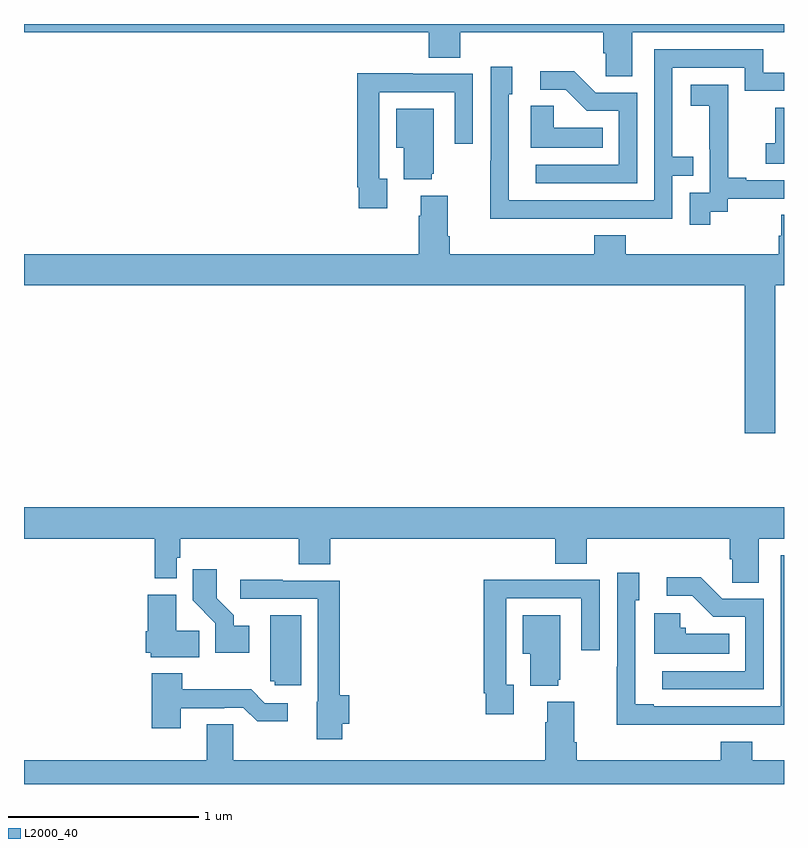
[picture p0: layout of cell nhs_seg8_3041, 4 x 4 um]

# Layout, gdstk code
import gdstk
lib = gdstk.Library(unit=1e-6, precision=1e-09)
def P(c, l, *ps):  # polygons
    for p in ps: c.add(gdstk.Polygon(p, *l))
L2000_40 = (2000, 40)

nhs_seg8_3041 = lib.new_cell('nhs_seg8_3041')
P(nhs_seg8_3041, L2000_40, [(304.201,1093.856),(305,1093.856),(305,1093.9),(301,1093.9),(301,1093.856),(303.131,1093.856),(303.131,1093.723),(303.296,1093.723),(303.296,1093.856),(304.049,1093.856),(304.049,1093.747),(304.062,1093.747),(304.062,1093.624),(304.201,1093.624)],
  [(303.917,1092.876),(304.413,1092.876),(304.413,1093.101),(304.523,1093.101),(304.523,1093.202),(304.413,1093.202),(304.413,1093.671),(304.794,1093.671),(304.794,1093.548),(305,1093.548),(305,1093.644),(304.891,1093.644),(304.891,1093.767),(304.317,1093.767),(304.317,1092.972),(303.552,1092.972),(303.552,1093.53),(303.571,1093.53),(303.571,1093.675),(303.456,1093.675),(303.456,1093.181),(303.454,1093.181),(303.454,1092.875),(303.917,1092.875)],
  [(304.227,1093.539),(304.008,1093.539),(303.895,1093.652),(303.717,1093.652),(303.717,1093.554),(303.851,1093.554),(303.962,1093.443),(304.131,1093.443),(304.131,1093.158),(303.693,1093.158),(303.693,1093.062),(304.227,1093.062)],
  [(302.911,1093.086),(302.871,1093.086),(302.871,1093.542),(303.267,1093.542),(303.267,1093.269),(303.363,1093.269),(303.363,1093.638),(303.047,1093.638),(303.047,1093.64),(302.755,1093.64),(302.755,1093.042),(302.763,1093.042),(302.763,1092.93),(302.911,1092.93)],
  [(304.612,1092.913),(304.704,1092.913),(304.704,1092.981),(305,1092.981),(305,1093.077),(304.801,1093.077),(304.801,1093.09),(304.706,1093.09),(304.706,1093.373),(304.707,1093.373),(304.707,1093.579),(304.509,1093.579),(304.509,1093.469),(304.607,1093.469),(304.607,1093.241),(304.608,1093.241),(304.608,1093.011),(304.503,1093.011),(304.503,1092.843),(304.612,1092.843)],
  [(304.046,1093.354),(303.789,1093.354),(303.789,1093.469),(303.668,1093.469),(303.668,1093.25),(304.046,1093.25)],
  [(305,1093.458),(304.954,1093.458),(304.954,1093.273),(304.905,1093.273),(304.905,1093.164),(305,1093.164)],
  [(303.146,1093.113),(303.157,1093.113),(303.157,1093.453),(302.96,1093.453),(302.96,1093.25),(302.999,1093.25),(302.999,1093.082),(303.146,1093.082)],
  [(304.953,1092.524),(305,1092.524),(305,1092.896),(304.985,1092.896),(304.985,1092.786),(304.973,1092.786),(304.973,1092.688),(304.166,1092.688),(304.166,1092.787),(304.001,1092.787),(304.001,1092.688),(303.242,1092.688),(303.242,1092.784),(303.229,1092.784),(303.229,1092.997),(303.089,1092.997),(303.089,1092.89),(303.077,1092.89),(303.077,1092.688),(301,1092.688),(301,1092.524),(304.793,1092.524),(304.793,1091.745),(304.953,1091.745)],
  [(304.867,1091.192),(305,1091.192),(305,1091.356),(301,1091.356),(301,1091.192),(301.687,1091.192),(301.687,1090.982),(301.803,1090.982),(301.803,1091.091),(301.823,1091.091),(301.823,1091.192),(302.447,1091.192),(302.447,1091.056),(302.612,1091.056),(302.612,1091.192),(303.797,1091.192),(303.797,1091.059),(303.962,1091.059),(303.962,1091.192),(304.715,1091.192),(304.715,1091.083),(304.728,1091.083),(304.728,1090.96),(304.867,1090.96)],
  [(304.583,1090.212),(305,1090.212),(305,1091.103),(304.983,1091.103),(304.983,1090.308),(304.315,1090.308),(304.315,1090.321),(304.218,1090.321),(304.218,1090.866),(304.237,1090.866),(304.237,1091.011),(304.122,1091.011),(304.122,1090.517),(304.12,1090.517),(304.12,1090.211),(304.583,1090.211)],
  [(302.185,1090.732),(302.104,1090.732),(302.104,1090.787),(302.014,1090.877),(302.014,1091.029),(301.888,1091.029),(301.888,1090.866),(302.007,1090.747),(302.007,1090.592),(302.185,1090.592)],
  [(304.893,1090.875),(304.674,1090.875),(304.561,1090.988),(304.383,1090.988),(304.383,1090.89),(304.517,1090.89),(304.628,1090.779),(304.797,1090.779),(304.797,1090.494),(304.359,1090.494),(304.359,1090.398),(304.893,1090.398)],
  [(303.577,1090.422),(303.537,1090.422),(303.537,1090.878),(303.933,1090.878),(303.933,1090.605),(304.029,1090.605),(304.029,1090.974),(303.713,1090.974),(303.713,1090.976),(303.421,1090.976),(303.421,1090.378),(303.429,1090.378),(303.429,1090.266),(303.577,1090.266)],
  [(302.676,1090.218),(302.711,1090.218),(302.711,1090.367),(302.663,1090.367),(302.663,1090.971),(302.363,1090.971),(302.363,1090.974),(302.139,1090.974),(302.139,1090.875),(302.547,1090.875),(302.547,1090.332),(302.54,1090.332),(302.54,1090.136),(302.676,1090.136)],
  [(301.922,1090.706),(301.801,1090.706),(301.801,1090.897),(301.652,1090.897),(301.652,1090.704),(301.64,1090.704),(301.64,1090.59),(301.668,1090.59),(301.668,1090.568),(301.922,1090.568)],
  [(304.712,1090.69),(304.482,1090.69),(304.482,1090.722),(304.455,1090.722),(304.455,1090.798),(304.316,1090.798),(304.316,1090.586),(304.712,1090.586)],
  [(302.458,1090.789),(302.297,1090.789),(302.297,1090.44),(302.319,1090.44),(302.319,1090.419),(302.458,1090.419)],
  [(303.812,1090.449),(303.823,1090.449),(303.823,1090.789),(303.626,1090.789),(303.626,1090.586),(303.665,1090.586),(303.665,1090.418),(303.812,1090.418)],
  [(301.825,1090.299),(302.054,1090.299),(302.054,1090.302),(302.154,1090.302),(302.227,1090.229),(302.389,1090.229),(302.389,1090.326),(302.268,1090.326),(302.195,1090.399),(301.833,1090.399),(301.833,1090.483),(301.673,1090.483),(301.673,1090.194),(301.825,1090.194)],
  [(305,1090.024),(304.832,1090.024),(304.832,1090.123),(304.667,1090.123),(304.667,1090.024),(303.908,1090.024),(303.908,1090.12),(303.895,1090.12),(303.895,1090.333),(303.755,1090.333),(303.755,1090.226),(303.743,1090.226),(303.743,1090.024),(302.1,1090.024),(302.1,1090.214),(301.961,1090.214),(301.961,1090.024),(301,1090.024),(301,1089.9),(305,1089.9)])

lib.write_gds('nhs_seg8_3041.gds')
